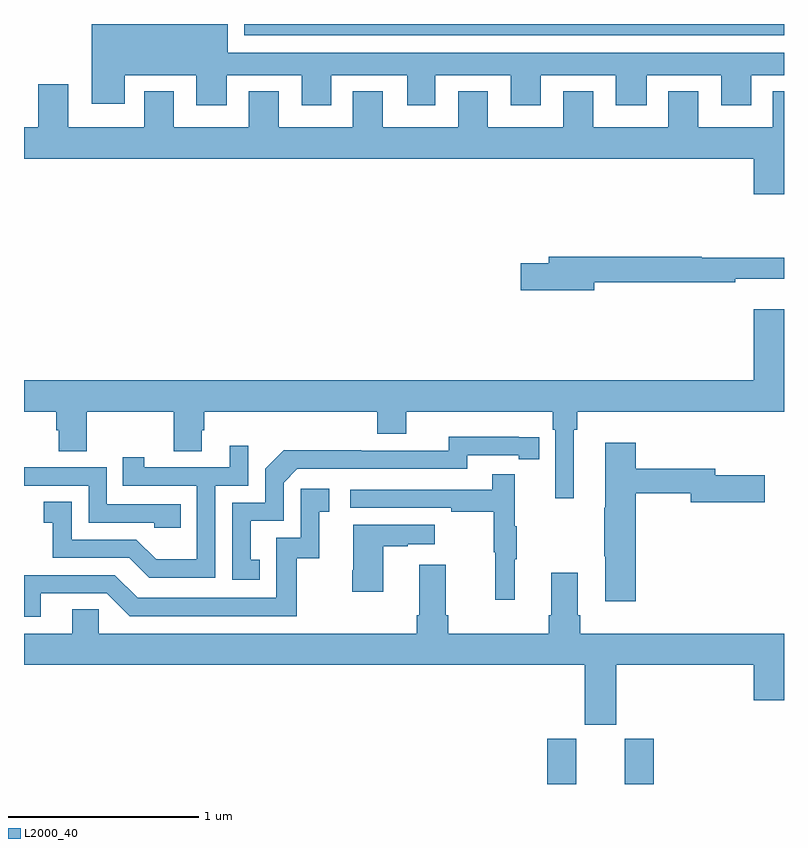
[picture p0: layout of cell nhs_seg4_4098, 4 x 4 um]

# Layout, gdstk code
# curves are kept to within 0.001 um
import gdstk
lib = gdstk.Library(unit=1e-6, precision=1e-09)
def R(c, l, rs):  # rectangles x0, y0, x1, y1
    for r in rs: c.add(gdstk.rectangle(r[:2], r[2:], *l))
def P(c, l, *ps):  # polygons
    for p in ps: c.add(gdstk.Polygon(p, *l))
L2000_40 = (2000, 40)

nhs_seg4_4098 = lib.new_cell('nhs_seg4_4098')
R(nhs_seg4_4098, L2000_40, [(331.754,754.9,331.906,755.139), (332.162,754.9,332.315,755.139), (330.158,758.841,333,758.9)])
P(nhs_seg4_4098, L2000_40, [(330.067,758.63),(330.461,758.63),(330.461,758.472),(330.616,758.472),(330.616,758.63),(331.016,758.63),(331.016,758.472),(331.165,758.472),(331.165,758.63),(331.562,758.63),(331.562,758.472),(331.72,758.472),(331.72,758.63),(332.114,758.63),(332.114,758.472),(332.278,758.472),(332.278,758.63),(332.669,758.63),(332.669,758.472),(332.827,758.472),(332.827,758.63),(333,758.63),(333,758.749),(330.073,758.749),(330.073,758.9),(329.357,758.9),(329.357,758.48),(329.53,758.48),(329.53,758.63),(329.906,758.63),(329.906,758.472),(330.067,758.472)],
  [(333,758.545),(332.942,758.545),(332.942,758.356),(332.548,758.356),(332.548,758.545),(332.39,758.545),(332.39,758.356),(331.996,758.356),(331.996,758.545),(331.838,758.545),(331.838,758.356),(331.441,758.356),(331.441,758.545),(331.286,758.545),(331.286,758.356),(330.889,758.356),(330.889,758.545),(330.731,758.545),(330.731,758.356),(330.34,758.356),(330.34,758.545),(330.182,758.545),(330.182,758.356),(329.788,758.356),(329.788,758.545),(329.633,758.545),(329.633,758.356),(329.233,758.356),(329.233,758.584),(329.074,758.584),(329.074,758.356),(329,758.356),(329,758.192),(332.84,758.192),(332.84,758.004),(333,758.004)],
  [(332.002,757.54),(332.744,757.54),(332.744,757.559),(333,757.559),(333,757.669),(332.567,757.669),(332.567,757.676),(331.763,757.676),(331.763,757.64),(331.614,757.64),(331.614,757.498),(332.002,757.498)],
  [(331.894,756.764),(331.913,756.764),(331.913,756.86),(333,756.86),(333,757.399),(332.84,757.399),(332.84,757.024),(329,757.024),(329,756.86),(329.171,756.86),(329.171,756.762),(329.183,756.762),(329.183,756.652),(329.331,756.652),(329.331,756.86),(329.788,756.86),(329.788,756.652),(329.935,756.652),(329.935,756.762),(329.948,756.762),(329.948,756.86),(330.86,756.86),(330.86,756.743),(331.012,756.743),(331.012,756.86),(331.784,756.86),(331.784,756.764),(331.797,756.764),(331.797,756.405),(331.894,756.405)],
  [(330.242,756.081),(330.193,756.081),(330.193,756.285),(330.366,756.285),(330.366,756.486),(330.438,756.558),(331.332,756.558),(331.332,756.63),(331.604,756.63),(331.604,756.61),(331.712,756.61),(331.712,756.726),(331.236,756.727),(331.236,756.654),(330.776,756.654),(330.776,756.656),(330.368,756.656),(330.27,756.558),(330.27,756.381),(330.096,756.381),(330.096,755.976),(330.242,755.976)],
  [(332.219,756.43),(332.51,756.43),(332.51,756.383),(332.899,756.383),(332.899,756.525),(332.638,756.525),(332.638,756.559),(332.219,756.559),(332.219,756.697),(332.06,756.697),(332.06,756.353),(332.053,756.353),(332.053,756.1),(332.06,756.1),(332.06,755.862),(332.219,755.862)],
  [(330.006,756.471),(330.18,756.471),(330.18,756.679),(330.083,756.679),(330.083,756.567),(329.632,756.567),(329.632,756.619),(329.521,756.619),(329.521,756.471),(329.91,756.471),(329.91,756.082),(329.696,756.082),(329.592,756.186),(329.25,756.186),(329.25,756.385),(329.103,756.385),(329.103,756.275),(329.152,756.275),(329.152,756.09),(329.555,756.09),(329.66,755.985),(330.006,755.985)],
  [(329.825,756.372),(329.436,756.372),(329.436,756.567),(329,756.567),(329,756.471),(329.34,756.471),(329.34,756.276),(329.685,756.276),(329.685,756.249),(329.825,756.249)],
  [(331.583,756.083),(331.594,756.083),(331.594,756.257),(331.583,756.257),(331.583,756.529),(331.465,756.529),(331.465,756.45),(330.717,756.45),(330.717,756.354),(331.249,756.354),(331.249,756.334),(331.473,756.334),(331.473,756.12),(331.48,756.12),(331.48,755.871),(331.583,755.871)],
  [(329.089,755.904),(329.436,755.904),(329.556,755.784),(330.436,755.784),(330.436,756.087),(330.554,756.087),(330.554,756.333),(330.607,756.333),(330.607,756.454),(330.456,756.454),(330.456,756.195),(330.327,756.195),(330.327,755.88),(329.598,755.88),(329.478,756),(329,756),(329,755.781),(329.089,755.781)],
  [(330.892,756.151),(331.019,756.151),(331.019,756.161),(331.162,756.161),(331.162,756.265),(330.734,756.265),(330.734,756.025),(330.727,756.025),(330.727,755.913),(330.892,755.913)],
  [(332.116,755.528),(332.84,755.528),(332.84,755.34),(333,755.34),(333,755.692),(331.928,755.692),(331.928,755.788),(331.915,755.788),(331.915,756.013),(331.775,756.013),(331.775,755.788),(331.763,755.788),(331.763,755.692),(331.232,755.692),(331.232,755.788),(331.219,755.788),(331.219,756.055),(331.079,756.055),(331.079,755.788),(331.067,755.788),(331.067,755.692),(329.394,755.692),(329.394,755.819),(329.255,755.819),(329.255,755.692),(329,755.692),(329,755.528),(331.952,755.528),(331.952,755.211),(332.116,755.211)])

lib.write_gds('nhs_seg4_4098.gds')
